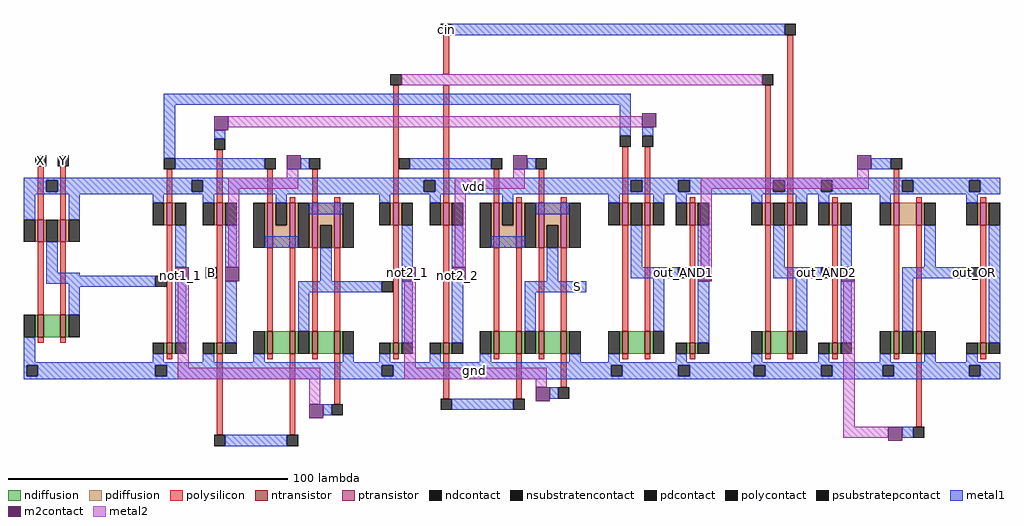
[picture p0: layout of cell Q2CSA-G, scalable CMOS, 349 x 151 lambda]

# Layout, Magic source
magic
tech scmos
<< polysilicon >>
rect 163 133 165 147
rect 18 81 20 100
rect 26 81 28 100
rect 64 87 66 99
rect 82 87 84 106
rect 100 87 102 99
rect 108 87 110 89
rect 116 87 118 99
rect 124 87 126 89
rect 145 87 147 129
rect 163 87 165 129
rect 181 87 183 99
rect 189 87 191 89
rect 197 87 199 99
rect 205 87 207 89
rect 227 87 229 107
rect 235 87 237 107
rect 251 87 253 89
rect 278 87 280 129
rect 286 87 288 147
rect 302 87 304 89
rect 324 87 326 99
rect 332 87 334 89
rect 355 87 357 89
rect 18 47 20 73
rect 26 47 28 73
rect 18 37 20 39
rect 26 37 28 39
rect 64 37 66 79
rect 82 37 84 79
rect 100 41 102 71
rect 108 41 110 71
rect 116 41 118 71
rect 124 41 126 71
rect 145 37 147 79
rect 163 37 165 79
rect 181 41 183 71
rect 189 41 191 71
rect 197 41 199 71
rect 205 41 207 71
rect 227 41 229 79
rect 235 41 237 79
rect 251 37 253 79
rect 278 41 280 79
rect 286 41 288 79
rect 302 37 304 79
rect 324 41 326 79
rect 332 41 334 79
rect 355 37 357 79
rect 64 31 66 33
rect 82 4 84 33
rect 100 31 102 33
rect 108 4 110 33
rect 116 31 118 33
rect 124 15 126 33
rect 145 31 147 33
rect 163 17 165 33
rect 181 31 183 33
rect 189 17 191 33
rect 197 31 199 33
rect 205 21 207 33
rect 227 31 229 33
rect 235 31 237 33
rect 251 31 253 33
rect 278 31 280 33
rect 286 31 288 33
rect 302 31 304 33
rect 324 31 326 33
rect 332 7 334 33
rect 355 31 357 33
<< ndiffusion >>
rect 17 39 18 47
rect 20 39 26 47
rect 28 39 29 47
rect 63 33 64 37
rect 66 33 67 37
rect 81 33 82 37
rect 84 33 85 37
rect 99 33 100 41
rect 102 33 108 41
rect 110 33 111 41
rect 115 33 116 41
rect 118 33 124 41
rect 126 33 127 41
rect 144 33 145 37
rect 147 33 148 37
rect 162 33 163 37
rect 165 33 166 37
rect 180 33 181 41
rect 183 33 189 41
rect 191 33 192 41
rect 196 33 197 41
rect 199 33 205 41
rect 207 33 208 41
rect 226 33 227 41
rect 229 33 235 41
rect 237 33 238 41
rect 250 33 251 37
rect 253 33 254 37
rect 277 33 278 41
rect 280 33 286 41
rect 288 33 289 41
rect 301 33 302 37
rect 304 33 305 37
rect 323 33 324 41
rect 326 33 327 41
rect 331 33 332 41
rect 334 33 335 41
rect 354 33 355 37
rect 357 33 358 37
<< pdiffusion >>
rect 17 73 18 81
rect 20 73 21 81
rect 25 73 26 81
rect 28 73 29 81
rect 63 79 64 87
rect 66 79 67 87
rect 81 79 82 87
rect 84 79 85 87
rect 99 71 100 87
rect 102 79 103 87
rect 107 79 108 87
rect 102 71 108 79
rect 110 71 111 87
rect 115 71 116 87
rect 118 79 124 87
rect 118 71 119 79
rect 123 71 124 79
rect 126 71 127 87
rect 144 79 145 87
rect 147 79 148 87
rect 162 79 163 87
rect 165 79 166 87
rect 180 71 181 87
rect 183 79 184 87
rect 188 79 189 87
rect 183 71 189 79
rect 191 71 192 87
rect 196 71 197 87
rect 199 79 205 87
rect 199 71 200 79
rect 204 71 205 79
rect 207 71 208 87
rect 226 79 227 87
rect 229 79 230 87
rect 234 79 235 87
rect 237 79 238 87
rect 250 79 251 87
rect 253 79 254 87
rect 277 79 278 87
rect 280 79 281 87
rect 285 79 286 87
rect 288 79 289 87
rect 301 79 302 87
rect 304 79 305 87
rect 323 79 324 87
rect 326 79 332 87
rect 334 79 335 87
rect 354 79 355 87
rect 357 79 358 87
<< metal1 >>
rect 166 147 285 151
rect 63 122 230 126
rect 63 103 67 122
rect 81 110 85 113
rect 226 111 230 122
rect 234 111 238 114
rect 67 99 99 103
rect 112 99 115 103
rect 151 99 180 103
rect 193 99 196 103
rect 316 99 323 103
rect 13 95 362 96
rect 13 91 21 95
rect 25 91 73 95
rect 77 91 156 95
rect 160 91 230 95
rect 234 91 247 95
rect 251 91 281 95
rect 285 91 298 95
rect 302 91 327 95
rect 331 91 351 95
rect 355 91 362 95
rect 13 90 362 91
rect 13 81 17 90
rect 29 81 33 90
rect 59 87 63 90
rect 77 87 81 90
rect 103 87 107 90
rect 140 87 144 90
rect 158 87 162 90
rect 184 87 188 90
rect 222 87 226 90
rect 238 87 242 90
rect 21 62 25 73
rect 67 64 71 79
rect 85 64 89 79
rect 99 71 111 75
rect 115 83 127 87
rect 21 61 33 62
rect 21 58 60 61
rect 29 57 60 58
rect 119 59 123 71
rect 148 64 152 79
rect 166 64 170 79
rect 180 71 192 75
rect 196 83 208 87
rect 246 87 250 90
rect 273 87 277 90
rect 289 87 293 90
rect 297 87 301 90
rect 319 87 323 90
rect 350 87 354 90
rect 200 59 204 71
rect 230 64 234 79
rect 254 64 258 79
rect 281 64 285 79
rect 305 64 309 79
rect 335 64 339 79
rect 230 60 247 64
rect 29 47 33 57
rect 13 30 17 39
rect 67 37 71 59
rect 85 37 89 59
rect 111 55 141 59
rect 111 41 115 55
rect 148 37 152 59
rect 166 37 170 59
rect 192 55 214 59
rect 192 41 196 55
rect 238 41 242 60
rect 59 30 63 33
rect 77 30 81 33
rect 95 30 99 33
rect 127 30 131 33
rect 140 30 144 33
rect 158 30 162 33
rect 176 30 180 33
rect 208 30 212 33
rect 281 60 298 64
rect 254 37 258 59
rect 289 41 293 60
rect 327 60 351 64
rect 305 37 309 59
rect 327 41 331 60
rect 358 37 362 79
rect 222 30 226 33
rect 246 30 250 33
rect 273 30 277 33
rect 297 30 301 33
rect 319 30 323 33
rect 335 30 339 33
rect 350 30 354 33
rect 13 29 362 30
rect 13 25 14 29
rect 18 25 60 29
rect 64 25 141 29
rect 145 25 223 29
rect 227 25 247 29
rect 251 25 274 29
rect 278 25 298 29
rect 302 25 320 29
rect 324 25 351 29
rect 355 25 362 29
rect 13 24 362 25
rect 120 11 123 15
rect 166 13 188 17
rect 201 17 204 21
rect 85 0 107 4
rect 327 3 331 7
<< metal2 >>
rect 148 129 277 133
rect 86 114 234 118
rect 107 96 111 99
rect 188 96 192 99
rect 311 96 315 99
rect 86 92 111 96
rect 167 92 192 96
rect 255 92 315 96
rect 86 64 90 92
rect 167 64 171 92
rect 255 64 259 92
rect 68 28 72 59
rect 149 28 153 59
rect 68 24 119 28
rect 149 24 200 28
rect 115 15 119 24
rect 196 21 200 24
rect 306 7 310 59
rect 306 3 322 7
<< ntransistor >>
rect 18 39 20 47
rect 26 39 28 47
rect 64 33 66 37
rect 82 33 84 37
rect 100 33 102 41
rect 108 33 110 41
rect 116 33 118 41
rect 124 33 126 41
rect 145 33 147 37
rect 163 33 165 37
rect 181 33 183 41
rect 189 33 191 41
rect 197 33 199 41
rect 205 33 207 41
rect 227 33 229 41
rect 235 33 237 41
rect 251 33 253 37
rect 278 33 280 41
rect 286 33 288 41
rect 302 33 304 37
rect 324 33 326 41
rect 332 33 334 41
rect 355 33 357 37
<< ptransistor >>
rect 18 73 20 81
rect 26 73 28 81
rect 64 79 66 87
rect 82 79 84 87
rect 100 71 102 87
rect 108 71 110 87
rect 116 71 118 87
rect 124 71 126 87
rect 145 79 147 87
rect 163 79 165 87
rect 181 71 183 87
rect 189 71 191 87
rect 197 71 199 87
rect 205 71 207 87
rect 227 79 229 87
rect 235 79 237 87
rect 251 79 253 87
rect 278 79 280 87
rect 286 79 288 87
rect 302 79 304 87
rect 324 79 326 87
rect 332 79 334 87
rect 355 79 357 87
<< polycontact >>
rect 162 147 166 151
rect 285 147 289 151
rect 144 129 148 133
rect 277 129 281 133
rect 81 106 85 110
rect 17 100 21 104
rect 25 100 29 104
rect 63 99 67 103
rect 99 99 103 103
rect 115 99 119 103
rect 147 99 151 103
rect 226 107 230 111
rect 234 107 238 111
rect 180 99 184 103
rect 196 99 200 103
rect 323 99 327 103
rect 60 57 64 61
rect 78 60 82 64
rect 141 55 145 59
rect 247 60 251 64
rect 298 60 302 64
rect 351 60 355 64
rect 204 17 208 21
rect 123 11 127 15
rect 162 13 166 17
rect 188 13 192 17
rect 81 0 85 4
rect 107 0 111 4
rect 331 3 335 7
<< ndcontact >>
rect 13 39 17 47
rect 29 39 33 47
rect 59 33 63 37
rect 67 33 71 37
rect 77 33 81 37
rect 85 33 89 37
rect 95 33 99 41
rect 111 33 115 41
rect 127 33 131 41
rect 140 33 144 37
rect 148 33 152 37
rect 158 33 162 37
rect 166 33 170 37
rect 176 33 180 41
rect 192 33 196 41
rect 208 33 212 41
rect 222 33 226 41
rect 238 33 242 41
rect 246 33 250 37
rect 254 33 258 37
rect 273 33 277 41
rect 289 33 293 41
rect 297 33 301 37
rect 305 33 309 37
rect 319 33 323 41
rect 327 33 331 41
rect 335 33 339 41
rect 350 33 354 37
rect 358 33 362 37
<< pdcontact >>
rect 13 73 17 81
rect 21 73 25 81
rect 29 73 33 81
rect 59 79 63 87
rect 67 79 71 87
rect 77 79 81 87
rect 85 79 89 87
rect 95 71 99 87
rect 103 79 107 87
rect 111 71 115 87
rect 119 71 123 79
rect 127 71 131 87
rect 140 79 144 87
rect 148 79 152 87
rect 158 79 162 87
rect 166 79 170 87
rect 176 71 180 87
rect 184 79 188 87
rect 192 71 196 87
rect 200 71 204 79
rect 208 71 212 87
rect 222 79 226 87
rect 230 79 234 87
rect 238 79 242 87
rect 246 79 250 87
rect 254 79 258 87
rect 273 79 277 87
rect 281 79 285 87
rect 289 79 293 87
rect 297 79 301 87
rect 305 79 309 87
rect 319 79 323 87
rect 335 79 339 87
rect 350 79 354 87
rect 358 79 362 87
<< m2contact >>
rect 81 113 86 118
rect 234 114 239 119
rect 107 99 112 104
rect 188 99 193 104
rect 311 99 316 104
rect 67 59 72 64
rect 85 59 90 64
rect 148 59 153 64
rect 166 59 171 64
rect 254 59 259 64
rect 305 59 310 64
rect 115 10 120 15
rect 196 16 201 21
rect 322 2 327 7
<< psubstratepcontact >>
rect 14 25 18 29
rect 60 25 64 29
rect 141 25 145 29
rect 223 25 227 29
rect 247 25 251 29
rect 274 25 278 29
rect 298 25 302 29
rect 320 25 324 29
rect 351 25 355 29
<< nsubstratencontact >>
rect 21 91 25 95
rect 73 91 77 95
rect 156 91 160 95
rect 230 91 234 95
rect 247 91 251 95
rect 281 91 285 95
rect 298 91 302 95
rect 327 91 331 95
rect 351 91 355 95
<< labels >>
rlabel metal1 174 93 174 93 5 vdd
rlabel metal1 174 27 174 27 1 gnd
rlabel metal1 211 57 211 57 1 S
rlabel polycontact 80 62 80 62 1 B
rlabel m2contact 69 61 69 61 1 not1_1
rlabel m2contact 87 61 87 61 1 not1_2
rlabel m2contact 150 62 150 62 1 not2_1
rlabel m2contact 168 61 168 61 1 not2_2
rlabel polycontact 143 57 143 57 1 out_XOR1
rlabel polycontact 249 62 249 62 1 out_AND1
rlabel polycontact 300 62 300 62 1 out_AND2
rlabel polycontact 353 62 353 62 1 out_OR
rlabel metal1 360 62 360 62 7 cout
rlabel polycontact 164 149 164 149 5 cin
rlabel polycontact 19 102 19 102 1 X
rlabel polycontact 27 102 27 102 1 Y
rlabel polycontact 62 59 62 59 1 A
<< end >>
